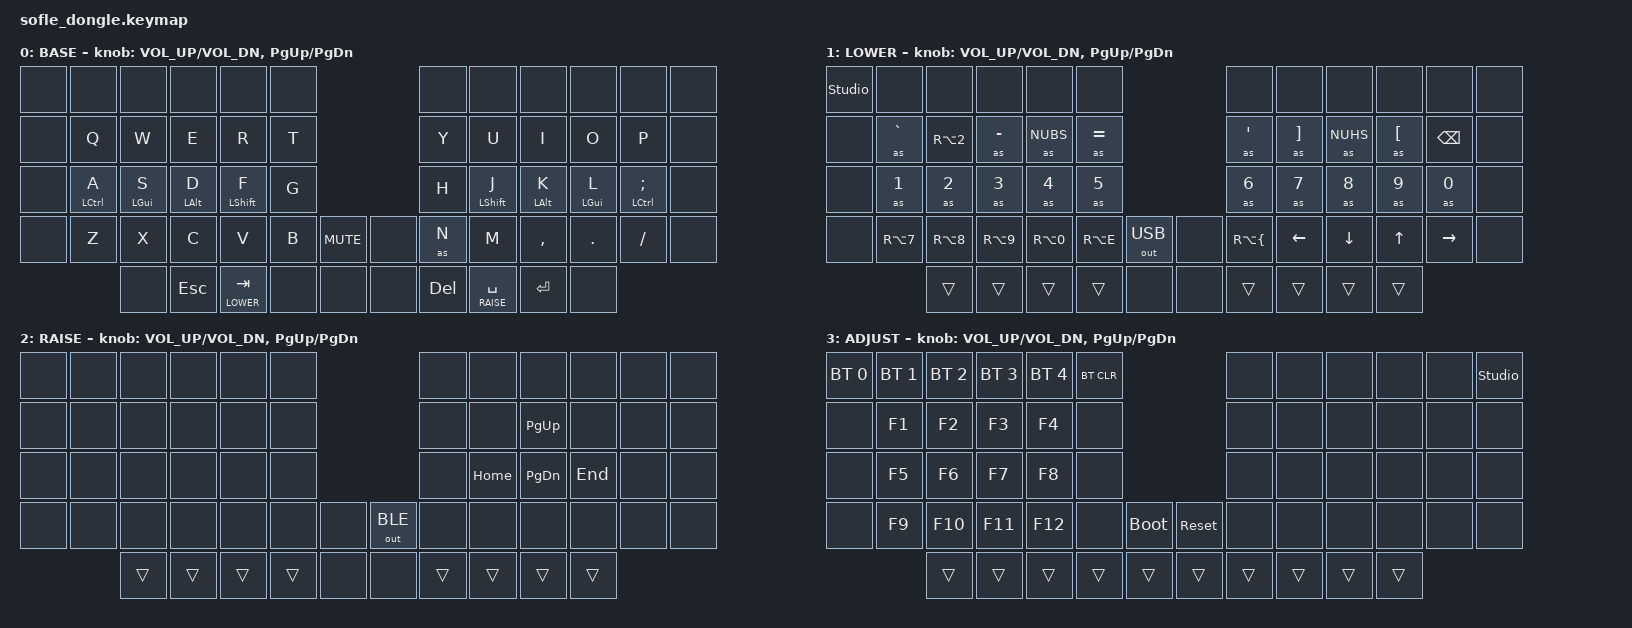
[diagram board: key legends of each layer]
/*
 * Sofle v2 – 4 layers (BASE / LOWER / RAISE / ADJUST)
 * ADJUST ativo quando LOWER + RAISE (tri-layer)
 */

#include <behaviors.dtsi>
#include <dt-bindings/zmk/bt.h>
#include <dt-bindings/zmk/keys.h>
#include <dt-bindings/zmk/outputs.h>

#define BASE   0
#define LOWER  1
#define RAISE  2
#define ADJUST 3

&mt {
    tapping-term-ms = <200>;
};

/ {
    conditional_layers {
        compatible = "zmk,conditional-layers";

        tri_layer {
            if-layers = <LOWER RAISE>;
            then-layer = <ADJUST>;
        };
    };

    macros {
        /* Auto-shift wrapper (1 param) */
        as: as {
            compatible = "zmk,behavior-macro-one-param";
            #binding-cells = <1>;
            bindings =
                <&macro_press>,
                <&macro_param_1to1 &macro_param_1to2 &as_ht MACRO_PLACEHOLDER MACRO_PLACEHOLDER>,
                <&macro_pause_for_release>,
                <&macro_release>,
                <&macro_param_1to1 &macro_param_1to2 &as_ht MACRO_PLACEHOLDER MACRO_PLACEHOLDER>;
            label = "AS";
        };

        /* Macro que aplica Shift + tecla(param) */
        shift: shift {
            compatible = "zmk,behavior-macro-one-param";
            #binding-cells = <1>;
            bindings =
                <&macro_press>,
                <&kp LSHFT>,
                <&macro_tap>,
                <&macro_param_1to1 &kp MACRO_PLACEHOLDER>,
                <&macro_release>,
                <&kp LSHFT>;
            label = "SHIFT";
        };
    };

    behaviors {
        /* Hold = macro shift, Tap = keypress normal */
        as_ht: autoshift_hold_tap {
            compatible = "zmk,behavior-hold-tap";
            label = "AUTOSHIFT_HOLD_TAP";
            bindings = <&shift>, <&kp>;
            #binding-cells = <2>;
            tapping-term-ms = <200>;
        };
    };

    keymap {
        compatible = "zmk,keymap";

        /* =========================
         * BASE
         * ========================= */
        base_layer {
            label = "BASE";

            bindings = <
                  &none             &none             &none             &none             &none             &none                                                 &none             &none             &none             &none             &none             &none
                  &none             &kp Q             &kp W             &kp E             &kp R             &kp T                                                 &kp Y             &kp U             &kp I             &kp O             &kp P             &none
                  &none             &mt LCTRL A       &mt LGUI S        &mt LALT D        &mt LSHFT F       &kp G                                                 &kp H             &mt LSHFT J       &mt LALT K        &mt LGUI L        &mt LCTRL SEMI    &none
                  &none             &kp Z             &kp X             &kp C             &kp V             &kp B             &kp C_MUTE        &none             &as N             &kp M             &kp COMMA         &kp DOT           &kp FSLH          &none
                                                      &none             &kp ESC           &lt LOWER TAB     &none             &none             &none             &kp DEL           &lt RAISE SPACE   &kp RET           &none
            >;

            sensor-bindings = <&inc_dec_kp C_VOL_UP C_VOL_DN &inc_dec_kp PG_UP PG_DN>;

        };

        /* =========================
         * LOWER
         * ========================= */
        lower_layer {
            label = "LOWER";

            bindings = <
                  &studio_unlock    &none             &none             &none             &none             &none                                                 &none             &none             &none             &none             &none             &none
                  &none             &as GRAVE         &kp RA(N2)        &as MINUS         &as NUBS          &as EQUAL                                             &as APOS          &as RIGHT_BRACKET &as NUHS          &as LEFT_BRACKET  &kp BSPC          &none 
                  &none             &as N1            &as N2            &as N3            &as N4            &as N5                                                &as N6            &as N7            &as N8            &as N9            &as N0            &none 
                  &none             &kp RA(N7)        &kp RA(N8)        &kp RA(N9)        &kp RA(N0)        &kp RA(E)         &out OUT_USB      &none             &kp RA(LBRC)      &kp LEFT          &kp DOWN          &kp UP            &kp RIGHT         &none 
                                                      &trans            &trans            &trans            &trans            &none             &none             &trans            &trans            &trans            &trans
            >;

            sensor-bindings = <&inc_dec_kp C_VOL_UP C_VOL_DN &inc_dec_kp PG_UP PG_DN>;
        };

        /* =========================
         * RAISE
         * ========================= */
        raise_layer {
            label = "RAISE";

            bindings = <
                  &none             &none             &none             &none             &none             &none                                                 &none             &none             &none             &none             &none             &none
                  &none             &none             &none             &none             &none             &none                                                 &none             &none             &kp PG_UP         &none             &none             &none
                  &none             &none             &none             &none             &none             &none                                                 &none             &kp HOME          &kp PG_DN         &kp END           &none             &none
                  &none             &none             &none             &none             &none             &none             &none             &out OUT_BLE      &none             &none             &none             &none             &none             &none
                                                      &trans            &trans            &trans            &trans            &none             &none             &trans            &trans            &trans            &trans
            >;

            sensor-bindings = <&inc_dec_kp C_VOL_UP C_VOL_DN &inc_dec_kp PG_UP PG_DN>;
        };

        /* =========================
         * ADJUST (LOWER + RAISE)
         * ========================= */
        adjust_layer {
            label = "ADJUST";

            bindings = <
                  &bt BT_SEL 0      &bt BT_SEL 1      &bt BT_SEL 2      &bt BT_SEL 3      &bt BT_SEL 4      &bt BT_CLR                                            &none             &none             &none             &none             &none             &studio_unlock
                  &none             &kp F1            &kp F2            &kp F3            &kp F4            &none                                                 &none             &none             &none             &none             &none             &none
                  &none             &kp F5            &kp F6            &kp F7            &kp F8            &none                                                 &none             &none             &none             &none             &none             &none
                  &none             &kp F9            &kp F10           &kp F11           &kp F12           &none             &bootloader       &sys_reset        &none             &none             &none             &none             &none             &none
                                                      &trans            &trans            &trans            &trans            &trans            &trans            &trans            &trans            &trans            &trans
            >;
			
			sensor-bindings = <&inc_dec_kp C_VOL_UP C_VOL_DN &inc_dec_kp PG_UP PG_DN>;
        };
    };
};
